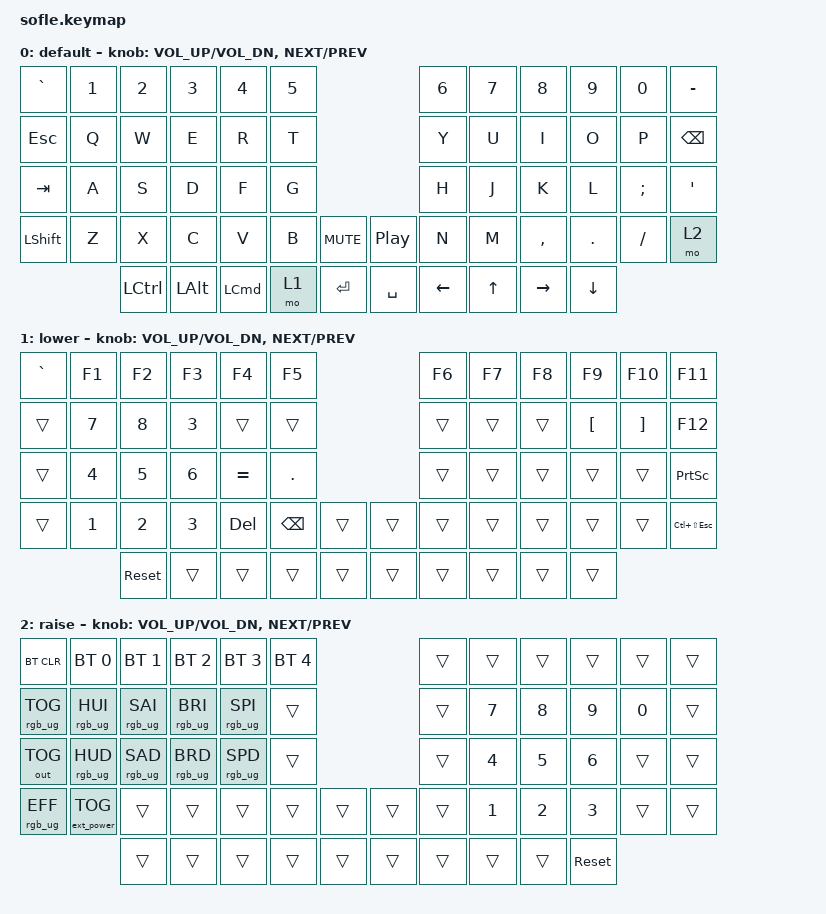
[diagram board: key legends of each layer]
/*
 * Copyright (c) 2020 The ZMK Contributors
 *
 * SPDX-License-Identifier: MIT
 */

#include <behaviors.dtsi>
#include <dt-bindings/zmk/bt.h>
#include <dt-bindings/zmk/ext_power.h>
#include <dt-bindings/zmk/keys.h>
#include <dt-bindings/zmk/outputs.h>
#include <dt-bindings/zmk/rgb.h>

#define BASE 0
#define LOWER 1
#define RAISE 2

&led_strip { chain-length = <12>; };

/ {
    sensors {
        compatible = "zmk,keymap-sensors";
        sensors = <&left_encoder &right_encoder>;
        triggers-per-rotation = <20>;
    };

    keymap {
        compatible = "zmk,keymap";

        default_layer {
            display-name = "default";

            // ------------------------------------------------------------------------------------------------------------
            // | ESC   |  1  |  2  |  3   |  4   |  5   |                   |  6   |  7    |  8    |  9   |   0   |   DEL |
            // | TAB   |  Q  |  W  |  E   |  R   |  T   |                   |  Y   |  U    |  I    |  O   |   P   | BKSPC |
            // | CAPS  |  A  |  S  |  D   |  F   |  G   |                   |  H   |  J    |  K    |  L   |   ;   |   '   |
            // | SHIFT |  Z  |  X  |  C   |  V   |  B   |  MUTE  |  | PAUSE |  N   |  M    |  ,<   |  .>  |   /?  | ENTER |
            //               |LCTRL| LALT | LCMD | SPACE|  LOWER |  | RAISE |  <-  |  ^    |  ->   |  v   |

            bindings = <
&kp GRAVE  &kp N1  &kp N2     &kp N3    &kp N4    &kp N5                           &kp N6    &kp N7  &kp N8     &kp N9    &kp N0    &kp MINUS
&kp ESC    &kp Q   &kp W      &kp E     &kp R     &kp T                            &kp Y     &kp U   &kp I      &kp O     &kp P     &kp BSPC
&kp TAB    &kp A   &kp S      &kp D     &kp F     &kp G                            &kp H     &kp J   &kp K      &kp L     &kp SEMI  &kp SQT
&kp LSHFT  &kp Z   &kp X      &kp C     &kp V     &kp B   &kp C_MUTE    &kp C_PP   &kp N     &kp M   &kp COMMA  &kp DOT   &kp FSLH  &mo 2
                   &kp LCTRL  &kp LALT  &kp LCMD  &mo 1   &kp ENTER     &kp SPACE  &kp LEFT  &kp UP  &kp RIGHT  &kp DOWN
            >;

            sensor-bindings = <&inc_dec_kp C_VOL_UP C_VOL_DN &inc_dec_kp C_NEXT C_PREV>;
        };

        lower_layer {
            display-name = "lower";

            // TODO: Some binds are waiting for shifted keycode support.
            // ------------------------------------------------------------------------------------------------------------
            // |   `~  |  F2 |  F3 |  F4  |  F5  |  F6  |                   |  F7  |  F8   |  F9   |  F10 |   -   |   =   |
            // |       |  7  |  8  |  9   |  0   |  -_  |                   |      |       |       |   [  |   ]   |   \   |
            // | Enter |  4  |  5  |  6   |  =+  |  .   |                   |      |       |       |      |       | PSCRN |
            // |       |  1  |  2  |  3   | DEL  | BKSPC|        |  |       |      |       |       |      |       | TSKMNG|
            //               | RST |      |      |      |        |  |       |      |       |       |      |

            bindings = <
&kp GRAVE  &kp F1  &kp F2      &kp F3        &kp F4     &kp F5                      &kp F6  &kp F7  &kp F8  &kp F9    &kp F10   &kp F11
&trans     &kp N7  &kp N8      &kp NUMBER_3  &trans     &trans                      &trans  &trans  &trans  &kp LBKT  &kp RBKT  &kp F12
&trans     &kp N4  &kp N5      &kp N6        &kp EQUAL  &kp DOT                     &trans  &trans  &trans  &trans    &trans    &kp PSCRN
&trans     &kp N1  &kp N2      &kp N3        &kp DEL    &kp BSPC  &trans    &trans  &trans  &trans  &trans  &trans    &trans    &kp LC(LS(ESC))
                   &sys_reset  &trans        &trans     &trans    &trans    &trans  &trans  &trans  &trans  &trans
            >;

            sensor-bindings = <&inc_dec_kp C_VOL_UP C_VOL_DN &inc_dec_kp C_NEXT C_PREV>;
        };

        raise_layer {
            display-name = "raise";

            // ------------------------------------------------------------------------------------------------------------
            // | BTCLR |  BT1  |  BT2  |  BT3  |  BT4  |  BT5 |                |      |      |       |      |       |       |
            // |RGB TOG|RGB HUI|RGB SAI|RGB BRI|RGB SPI|      |                |      |   7  |   8   |  9   |   0   |       |
            // |OUT TOG|RGB HUD|RGB SAD|RGB BRD|RGB SPD|      |                |      |   4  |   5   |  6   |       |       |
            // |RGB EFF|EXT PWR|       |       |       |      |      |  |      |      |   1  |   2   |  3   |       |       |
            //                 | LALT  |       |       |      | LCMD |  |      |      |      |       |  RST |

            bindings = <
&bt BT_CLR       &bt BT_SEL 0       &bt BT_SEL 1     &bt BT_SEL 2     &bt BT_SEL 3     &bt BT_SEL 4                    &trans  &trans  &trans  &trans      &trans  &trans
&rgb_ug RGB_TOG  &rgb_ug RGB_HUI    &rgb_ug RGB_SAI  &rgb_ug RGB_BRI  &rgb_ug RGB_SPI  &trans                          &trans  &kp N7  &kp N8  &kp N9      &kp N0  &trans
&out OUT_TOG     &rgb_ug RGB_HUD    &rgb_ug RGB_SAD  &rgb_ug RGB_BRD  &rgb_ug RGB_SPD  &trans                          &trans  &kp N4  &kp N5  &kp N6      &trans  &trans
&rgb_ug RGB_EFF  &ext_power EP_TOG  &trans           &trans           &trans           &trans        &trans    &trans  &trans  &kp N1  &kp N2  &kp N3      &trans  &trans
                                    &trans           &trans           &trans           &trans        &trans    &trans  &trans  &trans  &trans  &sys_reset
            >;

            sensor-bindings = <&inc_dec_kp C_VOL_UP C_VOL_DN &inc_dec_kp C_NEXT C_PREV>;
        };
    };
};
